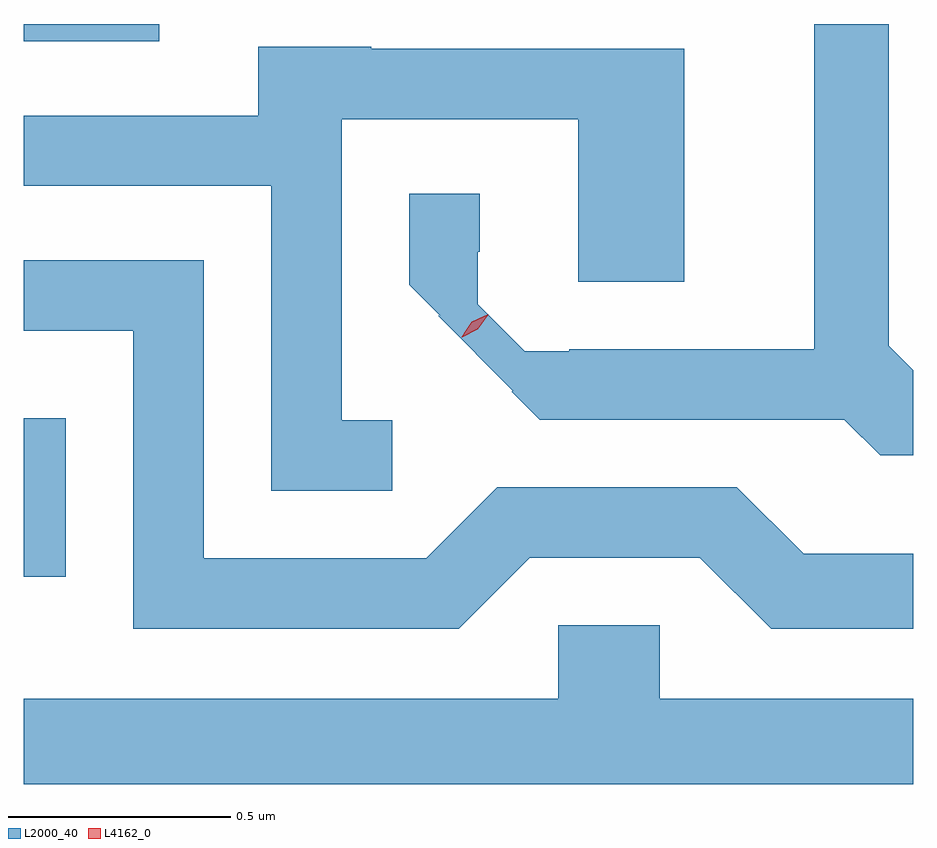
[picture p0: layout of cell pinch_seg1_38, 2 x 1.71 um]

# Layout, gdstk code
import gdstk
lib = gdstk.Library(unit=1e-6, precision=1e-09)
def R(c, l, rs):  # rectangles x0, y0, x1, y1
    for r in rs: c.add(gdstk.rectangle(r[:2], r[2:], *l))
def P(c, l, *ps):  # polygons
    for p in ps: c.add(gdstk.Polygon(p, *l))
L2000_40 = (2000, 40)
L4162_0 = (4162, 0)

pinch_seg1_38 = lib.new_cell('pinch_seg1_38')
R(pinch_seg1_38, L2000_40, [(1066.734,840.178,1066.829,840.534), (1066.734,841.381,1067.039,841.42)])
P(pinch_seg1_38, L2000_40, [(1068.734,840.642),(1068.679,840.697),(1068.679,841.42),(1068.511,841.42),(1068.511,840.689),(1067.96,840.689),(1067.96,840.685),(1067.86,840.685),(1067.755,840.79),(1067.755,840.908),(1067.759,840.908),(1067.759,841.038),(1067.601,841.038),(1067.601,840.834),(1067.669,840.766),(1067.666,840.764),(1067.834,840.596),(1067.831,840.594),(1067.894,840.531),(1068.579,840.531),(1068.659,840.451),(1068.734,840.451)],
  [(1067.563,840.529),(1067.449,840.529),(1067.449,841.206),(1067.981,841.206),(1067.981,840.841),(1068.219,840.841),(1068.219,841.364),(1067.515,841.364),(1067.515,841.369),(1067.261,841.369),(1067.261,841.214),(1066.734,841.214),(1066.734,841.056),(1067.291,841.056),(1067.291,840.371),(1067.563,840.371)],
  [(1067.872,840.221),(1068.254,840.221),(1068.414,840.061),(1068.734,840.061),(1068.734,840.229),(1068.487,840.229),(1068.337,840.379),(1067.799,840.379),(1067.639,840.219),(1067.139,840.219),(1067.139,840.889),(1066.734,840.889),(1066.734,840.731),(1066.981,840.731),(1066.981,840.061),(1067.712,840.061)],
  [(1068.734,839.904),(1068.164,839.904),(1068.164,840.069),(1067.936,840.069),(1067.936,839.904),(1066.734,839.904),(1066.734,839.712),(1068.734,839.712)])
P(pinch_seg1_38, L4162_0, [(1067.719,840.716),(1067.719,840.717),(1067.742,840.749),(1067.778,840.768),(1067.778,840.768),(1067.778,840.767),(1067.755,840.734),(1067.72,840.716)],
  [(1067.723,840.723),(1067.723,840.724),(1067.741,840.751),(1067.771,840.764),(1067.772,840.764),(1067.772,840.764),(1067.754,840.736),(1067.724,840.723)])

lib.write_gds('pinch_seg1_38.gds')
